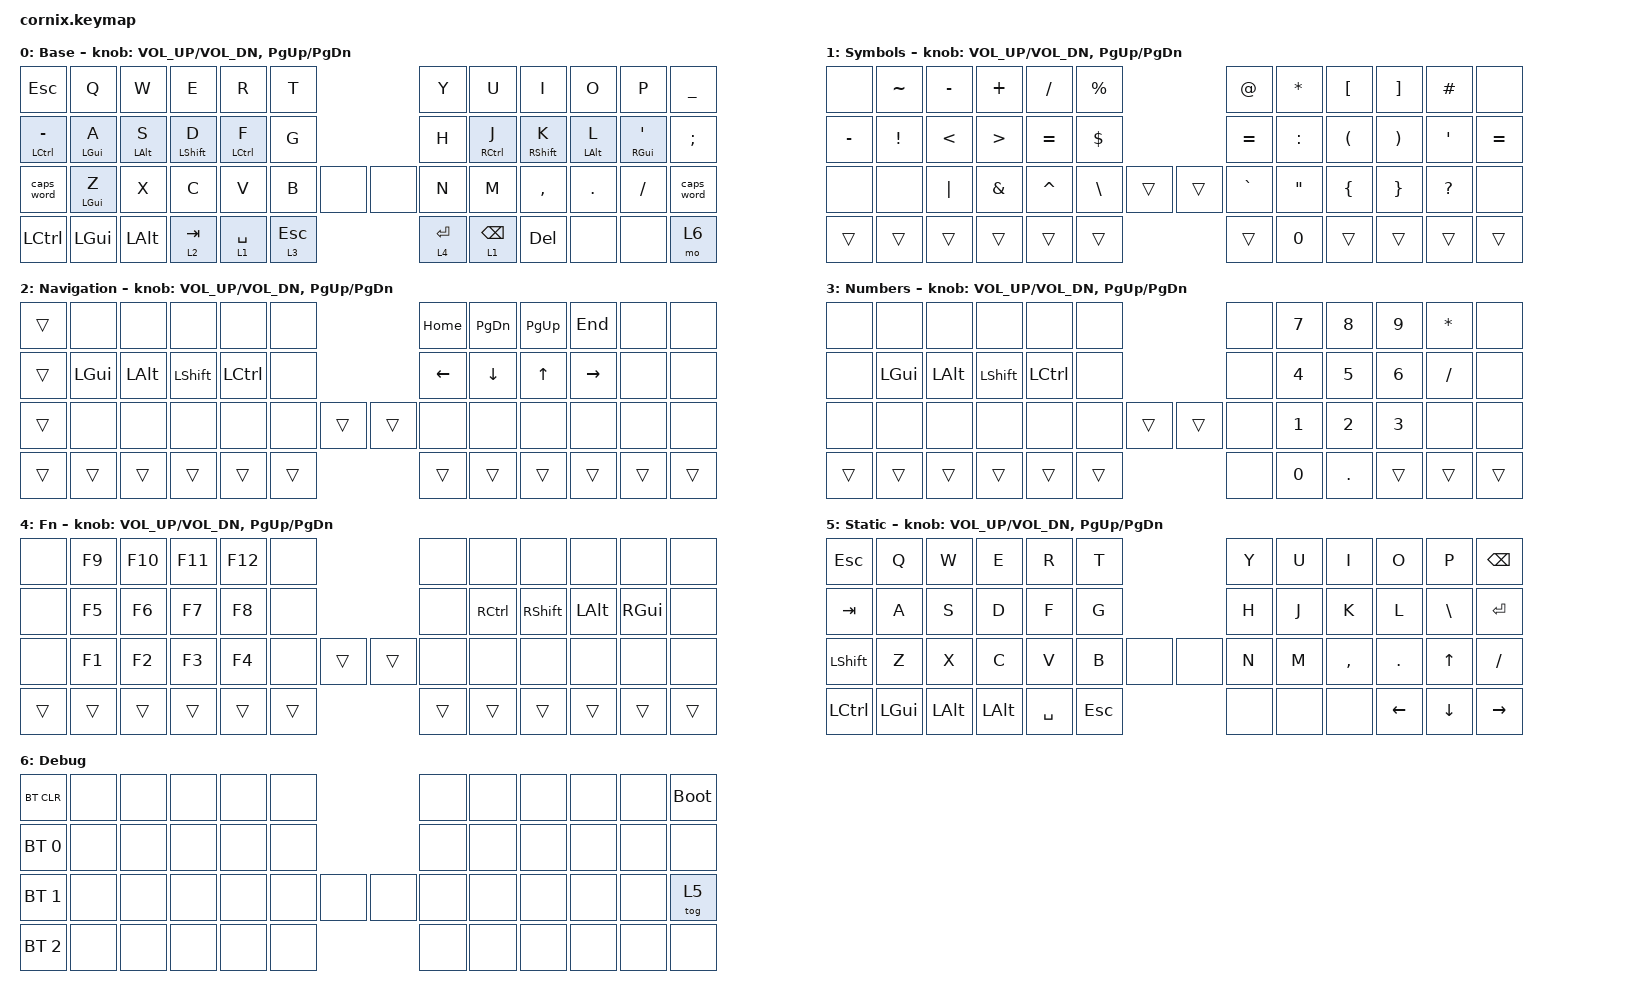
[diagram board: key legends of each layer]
/*
 * Copyright (c) 2020 The ZMK Contributors
 *
 * SPDX-License-Identifier: MIT
 */

#include "zmk-helpers/helper.h"
#include "includes/cornix54.h"
#include <behaviors.dtsi>
#include <dt-bindings/zmk/bt.h>
#include <dt-bindings/zmk/keys.h>

// tap windows for ctl alt and gui

#define HM_TAPPING_TERM 250
#define HM_TAPPING_REPEAT 210

// quick tapping for shift

#define HM_TAPPING_TERM_FAST 200
#define HM_PRIOR_IDLE 100
#define BASE 0
#define WIN 1
#define LOWER 2
#define RAISE 3
#define ADJUST 4
#define NAVI   5
#define NUM    6
#define DEBUG  7

// https://github.com/urob/zmk-config/tree/main#timeless-homerow-mods

#define KEYS_L LT0 LT1 LT2 LT3 LT4 LT5 LM0 LM1 LM2 LM3 LM4 LM5 LB0 LB1 LB2 LB3 LB4 LB5  // left hand
#define KEYS_R RT0 RT1 RT2 RT3 RT4 RT5 RM0 RM1 RM2 RM3 RM4 RM5 RB0 RB1 RB2 RB3 RB4 RB5  // right hand
#define THUMBS LH1 LH0 RH0 RH1
#define KEYS_T LH1 LH0 RH0 RH1
#define ZMK_POINTING_DEFAULT_SCRL_VAL 15

#include <behaviors.dtsi>
#include <dt-bindings/zmk/bt.h>
#include <dt-bindings/zmk/ext_power.h>
#include <dt-bindings/zmk/keys.h>
#include <dt-bindings/zmk/pointing.h>

/ {
    // Activate ADJUST layer by pressing raise and lower

    behaviors {
        hm_l: homerow_mods_left {
            compatible = "zmk,behavior-hold-tap";
            #binding-cells = <2>;
            bindings = <&kp>, <&kp>;

            flavor = "balanced";
            tapping-term-ms = <HM_TAPPING_TERM>;
            quick-tap-ms = <200>;                // repeat on tap-into-hold
            require-prior-idle-ms = <HM_PRIOR_IDLE>;
            hold-trigger-key-positions = <KEYS_R KEYS_T>;
            hold-trigger-on-release;
        };

        hm_r: homerow_mods_right {
            compatible = "zmk,behavior-hold-tap";
            #binding-cells = <2>;
            bindings = <&kp>, <&kp>;

            flavor = "balanced";
            tapping-term-ms = <HM_TAPPING_TERM>;
            quick-tap-ms = <200>;
            require-prior-idle-ms = <HM_PRIOR_IDLE>;
            hold-trigger-key-positions = <KEYS_L KEYS_T>;
            hold-trigger-on-release;
        };

        // Positional Homerow mods for shift
        // Use faster tapping term and disable some features that may
        // cause false negatives.

        hm_shift_l: hm_shift_l {
            compatible = "zmk,behavior-hold-tap";
            #binding-cells = <2>;
            bindings = <&kp>, <&kp>;

            //flavor = "balanced";

            flavor = "balanced";
            tapping-term-ms = <HM_TAPPING_TERM_FAST>;
            quick-tap-ms = <200>;
            require-prior-idle-ms = <HM_PRIOR_IDLE>;
            hold-trigger-key-positions = <KEYS_R KEYS_T>;
            hold-trigger-on-release;
        };

        hm_shift_r: hm_shift_r {
            compatible = "zmk,behavior-hold-tap";
            #binding-cells = <2>;
            bindings = <&kp>, <&kp>;

            flavor = "balanced";
            tapping-term-ms = <HM_TAPPING_TERM_FAST>;
            quick-tap-ms = <200>;
            require-prior-idle-ms = <HM_PRIOR_IDLE>;
            hold-trigger-key-positions = <KEYS_L KEYS_T>;

            // for quick tapping; shift+~

            hold-trigger-on-release;
        };

        /*
         * Non-Positional Homerow Mods
         * Used for &mm_grescm_gui behavior on left hand.
         *
         * Usage: &hm LSHFT T
         * Tap: T
         * Tap-Tap-Hold: Repeat T
         * Hold: LSHIFT
         */

        hm: homerow_mods {
            compatible = "zmk,behavior-hold-tap";
            #binding-cells = <2>;
            bindings = <&kp>, <&kp>;

            flavor = "balanced";
            tapping-term-ms = <HM_TAPPING_TERM>;
            quick-tap-ms = <200>;
            require-prior-idle-ms = <HM_PRIOR_IDLE>;
        };

        lt: layer_tap {
            compatible = "zmk,behavior-hold-tap";
            #binding-cells = <2>;
            bindings = <&mo>, <&kp>;

            flavor = "balanced";
            tapping-term-ms = <HM_TAPPING_TERM>;
            quick-tap-ms = <200>;
        };
    };


    keymap {
        compatible = "zmk,keymap";

        default_layer {
            display-name = "Base";
            bindings = <
&kp ESC             &kp Q        &kp W        &kp E               &kp R         &kp T                  &kp Y       &kp U         &kp I               &kp O        &kp P           &kp UNDER
&hm_l LCTRL MINUS   &hm_l LGUI A &hm_l LALT S &hm_shift_l LSHFT D &hm_l LCTRL F &kp G                  &kp H       &hm_r RCTRL J &hm_shift_r RSHFT K &hm_r LALT L &hm_r RGUI SQT  &kp SEMI
&caps_word          &hm_l LGUI Z &kp X        &kp C               &kp V         &kp B   &none  &none   &kp N       &kp M         &kp COMMA           &kp DOT      &kp FSLH        &caps_word
&kp LCTRL           &kp LGUI     &kp LALT     &lt 2 TAB           &lt 1 SPACE   &lt 3 ESC              &lt 4 ENTER &lt 1 BSPC    &kp DEL             &none        &none           &mo 6
            >;
            sensor-bindings = <&inc_dec_kp C_VOL_UP C_VOL_DN &inc_dec_kp PG_UP PG_DN>;
        };


        Symbol_layer {
            display-name = "Symbols";
            bindings = <
&none     &kp TILDE  &kp MINUS &kp PLUS  &kp FSLH  &kp PRCNT                     &kp AT    &kp ASTRK &kp LBKT  &kp RBKT  &kp HASH  &none
&kp MINUS &kp EXCL   &kp LT    &kp GT    &kp EQUAL &kp DOLLAR                    &kp EQUAL &kp COLON &kp LPAR  &kp RPAR  &kp SQT   &kp EQUAL
&none     &none      &kp PIPE  &kp AMPS  &kp CARET &kp BSLH  &trans  &trans      &kp GRAVE &kp DQT   &kp LBRC  &kp RBRC  &kp QMARK &none
&trans    &trans     &trans    &trans    &trans    &trans                        &trans    &kp N0 &trans    &trans    &trans    &trans
            >;
            sensor-bindings = <&inc_dec_kp C_VOL_UP C_VOL_DN &inc_dec_kp PG_UP PG_DN>;
        };


        Nav_layer {
            display-name = "Navigation";
            bindings = <
&trans    &none     &none     &none     &none     &none                          &kp HOME  &kp PG_DN &kp PG_UP &kp END   &none     &none
&trans    &kp LGUI  &kp LALT  &kp LSHFT &kp LCTRL &none                          &kp LEFT  &kp DOWN  &kp UP    &kp RIGHT &none     &none
&trans    &none     &none     &none     &none     &none      &trans  &trans      &none     &none     &none     &none     &none     &none
&trans    &trans    &trans    &trans    &trans    &trans                         &trans    &trans    &trans    &trans    &trans    &trans
            >;
            sensor-bindings = <&inc_dec_kp C_VOL_UP C_VOL_DN &inc_dec_kp PG_UP PG_DN>;
        };


        Num_layer {
            display-name = "Numbers";
            bindings = <
&none     &none     &none     &none     &none     &none                          &none     &kp N7    &kp N8    &kp N9    &kp ASTRK &none
&none     &kp LGUI  &kp LALT  &kp LSHFT &kp LCTRL &none                          &none     &kp N4    &kp N5    &kp N6    &kp FSLH  &none
&none     &none     &none     &none     &none     &none       &trans  &trans     &none     &kp N1    &kp N2    &kp N3    &none     &none
&trans    &trans    &trans    &trans    &trans    &trans                         &none     &kp N0    &kp DOT   &trans    &trans    &trans
            >;
            sensor-bindings = <&inc_dec_kp C_VOL_UP C_VOL_DN &inc_dec_kp PG_UP PG_DN>;
        };


        Fn_layer {
            display-name = "Fn";
            bindings = <
&none     &kp F9    &kp F10   &kp F11   &kp F12   &none                         &none     &none     &none     &none     &none     &none
&none     &kp F5    &kp F6    &kp F7    &kp F8    &none                         &none     &kp RCTRL &kp RSHFT &kp LALT  &kp RGUI  &none
&none     &kp F1    &kp F2    &kp F3    &kp F4    &none      &trans  &trans     &none     &none     &none     &none     &none     &none
&trans    &trans    &trans    &trans    &trans    &trans                        &trans    &trans    &trans    &trans    &trans    &trans
            >;
            sensor-bindings = <&inc_dec_kp C_VOL_UP C_VOL_DN &inc_dec_kp PG_UP PG_DN>;
        };


        static_layer {
            display-name = "Static";
            bindings = <
&kp ESC   &kp Q     &kp W     &kp E     &kp R     &kp T                         &kp Y     &kp U     &kp I     &kp O     &kp P     &kp BSPC
&kp TAB   &kp A     &kp S     &kp D     &kp F     &kp G                         &kp H     &kp J     &kp K     &kp L     &kp BSLH  &kp ENTER
&kp LSHFT &kp Z     &kp X     &kp C     &kp V     &kp B      &none   &none      &kp N     &kp M     &kp COMMA &kp DOT   &kp UP    &kp FSLH
&kp LCTRL &kp LGUI  &kp LALT  &kp LALT  &kp SPACE &kp ESC                       &none     &none     &none     &kp LEFT  &kp DOWN  &kp RIGHT
            >;
            sensor-bindings = <&inc_dec_kp C_VOL_UP C_VOL_DN &inc_dec_kp PG_UP PG_DN>;
        };


        Debug_layer {
            display-name = "Debug";
            bindings = <
&bt BT_CLR   &none    &none    &none    &none    &none                          &none    &none   &none   &none   &none   &bootloader
&bt BT_SEL 0 &none    &none    &none    &none    &none                          &none    &none   &none   &none   &none   &none
&bt BT_SEL 1 &none    &none    &none    &none    &none       &none  &none       &none    &none   &none   &none   &none   &tog 5
&bt BT_SEL 2 &none    &none    &none    &none    &none                          &none    &none   &none   &none   &none   &none
            >;
        };
    };
};
